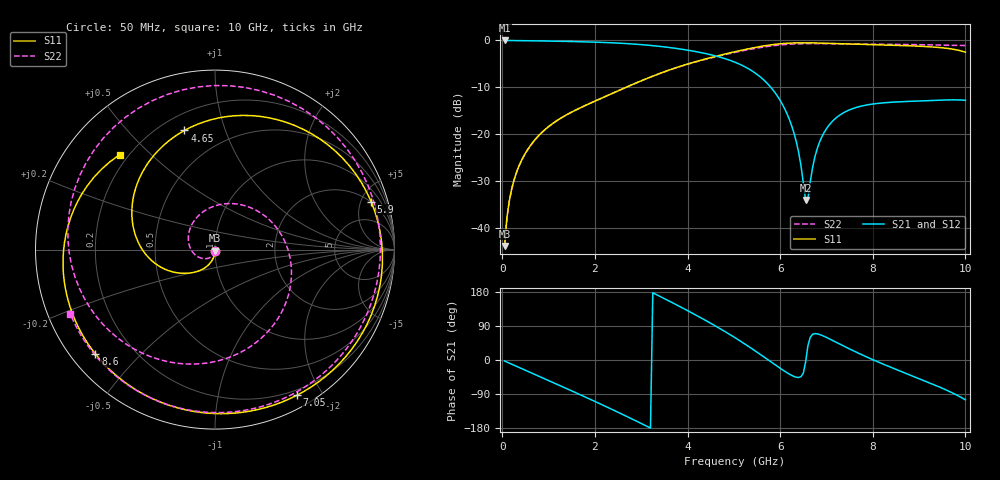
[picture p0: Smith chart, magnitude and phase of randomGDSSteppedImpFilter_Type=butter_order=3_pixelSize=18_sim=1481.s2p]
! freq	dB(S11)	phase(S11)	dB(S12)	phase(S12)
!  dB(S21)	phase(S21)	dB(S22)	phase(S22)
!S-par simulation data
#  GHz  S  DB  R 50
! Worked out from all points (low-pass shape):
!   200 points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, 50 MHz to 10 GHz, reference 50 ohm
!   highest |S21| = 0.00 dB at 50 MHz (marker M1); lowest = -34.0 dB at 6.55 GHz (marker M2)
!   |S21| within 3 dB of the highest: start of sweep to 4.482 GHz
!   lowest |S11| = -43.8 dB at 50 MHz (marker M3), VSWR 1.01, Z = 50 - j0.644 ohm
!   |S11| at or under -10 dB: start of sweep to 2.672 GHz
!   |S22| runs from -43.9 to -0.7 dB; largest |S21 - S12| = 0
!   S11 on the Smith chart (normalised r, x): 50 MHz: 1.00, -0.01; 4.65 GHz: 0.29, +0.73; 5.9 GHz: 1.94, +6.04; 7.05 GHz: 0.14, -1.70; 8.6 GHz: 0.07, -0.37; 10 GHz: 0.17, +0.40
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0.05  -43.82 -90.9  -0.00 -2.7  -0.00 -2.7  -43.88 -93.2
0.2  -31.81 -96.0  -0.02 -10.9  -0.02 -10.9  -31.87 -105.4
0.5  -24.04 -105.4  -0.06 -27.1  -0.06 -27.1  -24.06 -129.0
1.15  -17.29 -124.1  -0.16 -62.4  -0.16 -62.4  -17.31 177.8
1.75  -14.06 -138.5  -0.29 -95.4  -0.29 -95.4  -14.07 126.0
2.65  -10.09 -161.2  -0.65 -146.7  -0.65 -146.7  -10.10 46.1
3.4  -7.04 171.1  -1.26 168.2  -1.26 168.2  -7.06 -16.1
4.05  -4.89 139.3  -2.15 127.1  -2.15 127.1  -4.94 -66.2
4.65  -3.28 104.4  -3.42 86.5  -3.42 86.5  -3.39 -112.6
5.05  -2.34 78.3  -4.75 56.9  -4.75 56.9  -2.50 -146.1
5.5  -1.42 46.6  -7.23 20.7  -7.23 20.7  -1.63 171.7
5.9  -0.82 17.1  -11.29 -13.4  -11.29 -13.4  -1.06 129.5
6.3  -0.53 -12.1  -19.81 -43.5  -19.81 -43.5  -0.76 85.0
6.55  -0.50 -29.4  -34.02 -5.3  -34.02 -5.3  -0.69 57.9
6.6  -0.51 -32.7  -33.80 37.9  -33.80 37.9  -0.68 52.7
6.7  -0.52 -39.3  -27.12 67.9  -27.12 67.9  -0.68 42.4
7.05  -0.62 -60.7  -18.13 56.7  -18.13 56.7  -0.69 9.3
7.7  -0.82 -95.7  -14.13 17.4  -14.13 17.4  -0.75 -40.6
8.35  -0.99 -127.1  -13.22 -17.2  -13.22 -17.2  -0.81 -79.2
8.6  -1.07 -138.9  -13.08 -29.6  -13.08 -29.6  -0.84 -92.1
9.4  -1.48 -179.7  -12.76 -69.2  -12.76 -69.2  -0.97 -129.5
10  -2.51 135.1  -12.77 -105.0  -12.77 -105.0  -1.09 -156.1
